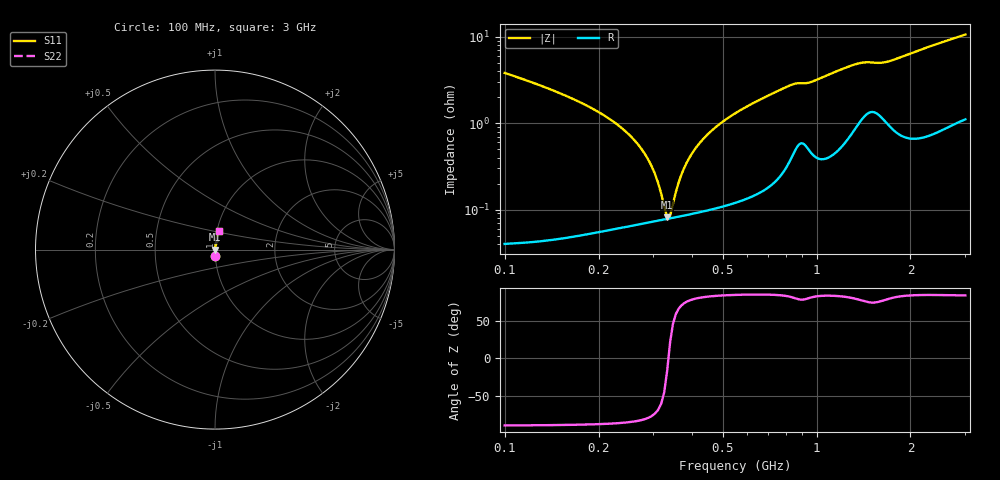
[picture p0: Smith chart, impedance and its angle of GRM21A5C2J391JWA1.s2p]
!Murata Part Number: GRM21A5C2J391JWA1
!These Parameters are Measured in Series Mode Connection
!Data Generated on Mar 30, 2021
!  o--ll--o
!Port1  Port2
!  o------o
!Operation Temp=25[degC], DC Bias Voltage=0[V]
!Freq. Start=100[MHz] Stop=3[GHz] 401[Steps]
# Hz S RI R 50
!Freq.(Hz) S11(Real) S11(Imag) S21(Real) S21(Imag) S12(Real) S12(Imag) S22(Real) S22(Imag)
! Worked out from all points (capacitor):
!   401 points, 100 MHz to 3 GHz, reference 50 ohm
!   read as one part in series: C = 380 pF near 114.5 MHz
!   lowest |Z| = 81 mohm at 332 MHz (marker M1)
!   series resonance near 335.1 MHz, so ESL is about 590 pH
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1e8  0.00185 -0.0381  0.9981 0.0381  0.9981 0.0381  0.00185 -0.0381
2.0875e8  0.000712 -0.0122  0.9993 0.0122  0.9993 0.0122  0.000712 -0.0122
2.595e8  0.000696 -0.00642  0.9993 0.00642  0.9993 0.00642  0.000696 -0.00642
2.885e8  0.000718 -0.00373  0.9993 0.00373  0.9993 0.00373  0.000718 -0.00373
3.03e8  0.000735 -0.0025  0.9993 0.0025  0.9993 0.0025  0.000735 -0.0025
3.2475e8  0.000766 -0.000776  0.9992 0.000776  0.9992 0.000776  0.000766 -0.000776
3.32e8  0.000777 -0.000227  0.9992 0.000227  0.9992 0.000227  0.000777 -0.000227
3.3925e8  0.000789 0.00031  0.9992 -0.00031  0.9992 -0.00031  0.000789 0.00031
3.465e8  0.000802 0.000836  0.9992 -0.000836  0.9992 -0.000836  0.000802 0.000836
3.6825e8  0.000843 0.00235  0.9992 -0.00235  0.9992 -0.00235  0.000843 0.00235
3.8275e8  0.000873 0.00332  0.9991 -0.00332  0.9991 -0.00332  0.000873 0.00332
4.19e8  0.000956 0.00562  0.999 -0.00562  0.999 -0.00562  0.000956 0.00562
4.8425e8  0.00114 0.00943  0.9989 -0.00943  0.9989 -0.00943  0.00114 0.00943
5.8575e8  0.00152 0.0149  0.9985 -0.0149  0.9985 -0.0149  0.00152 0.0149
8.1775e8  0.00425 0.0267  0.9958 -0.0267  0.9958 -0.0267  0.00425 0.0267
9.4825e8  0.00562 0.0288  0.9944 -0.0288  0.9944 -0.0288  0.00562 0.0288
1.0715e9  0.00509 0.0348  0.9949 -0.0348  0.9949 -0.0348  0.00509 0.0348
1.347e9  0.0113 0.0467  0.9887 -0.0467  0.9887 -0.0467  0.0113 0.0467
1.55e9  0.0152 0.0469  0.9848 -0.0469  0.9848 -0.0469  0.0152 0.0469
2.03575e9  0.0107 0.0641  0.9893 -0.0641  0.9893 -0.0641  0.0107 0.0641
2.5215e9  0.0153 0.0839  0.9847 -0.0839  0.9847 -0.0839  0.0153 0.0839
3e9  0.0216 0.1023  0.9784 -0.1023  0.9784 -0.1023  0.0216 0.1023
